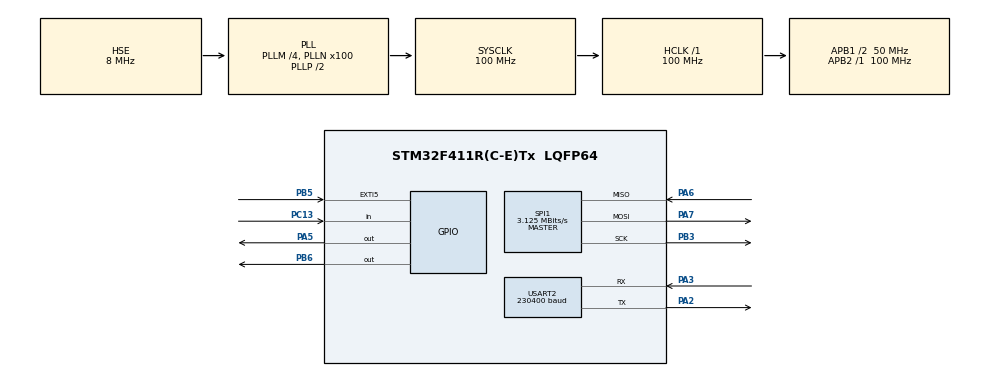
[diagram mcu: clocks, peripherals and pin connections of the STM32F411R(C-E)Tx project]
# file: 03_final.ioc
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Dma.Request0=USART2_TX
Dma.USART2_TX.0.Direction=DMA_MEMORY_TO_PERIPH
Dma.USART2_TX.0.FIFOMode=DMA_FIFOMODE_DISABLE
Dma.USART2_TX.0.Instance=DMA1_Stream6
Dma.USART2_TX.0.MemDataAlignment=DMA_MDATAALIGN_BYTE
Dma.USART2_TX.0.MemInc=DMA_MINC_ENABLE
Dma.USART2_TX.0.Mode=DMA_NORMAL
Dma.USART2_TX.0.PeriphDataAlignment=DMA_PDATAALIGN_BYTE
Dma.USART2_TX.0.PeriphInc=DMA_PINC_DISABLE
Dma.USART2_TX.0.Priority=DMA_PRIORITY_LOW
Mcu.Family=STM32F4
Mcu.Name=STM32F411R(C-E)Tx
Mcu.Package=LQFP64
NVIC.DMA1_Stream6_IRQn=true\:0\:0\:false\:false\:true\:false\:true\:true
NVIC.EXTI9_5_IRQn=true\:0\:0\:false\:false\:true\:true\:true\:true
NVIC.PriorityGroup=NVIC_PRIORITYGROUP_4
NVIC.USART2_IRQn=true\:0\:0\:false\:false\:true\:false\:true\:true
PA13.Mode=Serial_Wire
PA13.Signal=SYS_JTMS-SWDIO
PA14.Mode=Serial_Wire
PA14.Signal=SYS_JTCK-SWCLK
PA2.Mode=Asynchronous
PA2.Signal=USART2_TX
PA3.Mode=Asynchronous
PA3.Signal=USART2_RX
PA5.Signal=GPIO_Output
PA6.Mode=Full_Duplex_Master
PA6.Signal=SPI1_MISO
PA7.Mode=Full_Duplex_Master
PA7.Signal=SPI1_MOSI
PB3.Mode=Full_Duplex_Master
PB3.Signal=SPI1_SCK
PB5.GPIO_ModeDefaultEXTI=GPIO_MODE_IT_RISING
PB5.Signal=GPXTI5
PB6.PinState=GPIO_PIN_SET
PB6.Signal=GPIO_Output
PC13-ANTI_TAMP.Signal=GPIO_Input
PH0\ -\ OSC_IN.Mode=HSE-External-Clock-Source
PH0\ -\ OSC_IN.Signal=RCC_OSC_IN
PH1\ -\ OSC_OUT.Mode=HSE-External-Clock-Source
PH1\ -\ OSC_OUT.Signal=RCC_OSC_OUT
ProjectManager.HeapSize=0x200
ProjectManager.StackSize=0x400
ProjectManager.TargetToolchain=STM32CubeIDE
RCC.48MHZClocksFreq_Value=50000000
RCC.AHBFreq_Value=100000000
RCC.APB1CLKDivider=RCC_HCLK_DIV2
RCC.APB1Freq_Value=50000000
RCC.APB1TimFreq_Value=100000000
RCC.APB2Freq_Value=100000000
RCC.APB2TimFreq_Value=100000000
RCC.CortexFreq_Value=100000000
RCC.HCLKFreq_Value=100000000
RCC.HSE_VALUE=8000000
RCC.HSI_VALUE=16000000
RCC.LSE_VALUE=32768
RCC.PLLM=4
RCC.PLLN=100
RCC.PLLSourceVirtual=RCC_PLLSOURCE_HSE
RCC.SYSCLKFreq_VALUE=100000000
RCC.SYSCLKSource=RCC_SYSCLKSOURCE_PLLCLK
RCC.VCOOutputFreq_Value=200000000
SPI1.BaudRatePrescaler=SPI_BAUDRATEPRESCALER_32
SPI1.CLKPhase=SPI_PHASE_2EDGE
SPI1.CLKPolarity=SPI_POLARITY_HIGH
SPI1.CalculateBaudRate=3.125 MBits/s
SPI1.Direction=SPI_DIRECTION_2LINES
SPI1.Mode=SPI_MODE_MASTER
SPI1.VirtualType=VM_MASTER
TIM2.Prescaler=99
USART2.BaudRate=230400
USART2.VirtualMode=VM_ASYNC
VP_TIM2_VS_ClockSourceINT.Mode=Internal
board=custom

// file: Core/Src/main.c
/* USER CODE BEGIN Header */
/**
  ******************************************************************************
  * @file           : main.c
  * @brief          : Main program body
  ******************************************************************************
  * @attention
  *
  * Copyright (c) 2026 STMicroelectronics.
  * All rights reserved.
  *
  * This software is licensed under terms that can be found in the LICENSE file
  * in the root directory of this software component.
  * If no LICENSE file comes with this software, it is provided AS-IS.
  *
  ******************************************************************************
  */
/* USER CODE END Header */
#include "main.h"

/* USER CODE BEGIN PD */
#define SAMPLE_SIZE         6
#define SAMPLES_PER_BUFFER  512
// #define BUFFER_SIZE         (SAMPLE_SIZE * SAMPLES_PER_BUFFER)
#define BUFFER_SIZE 		512

#define ADXL_RANGE_2G   0x00
#define ADXL_RANGE_4G   0x01
#define ADXL_RANGE_8G   0x02
#define ADXL_RANGE_16G  0x03

#define ADXL_FULL_RES	(1 << 3)

#define ADXL_3200_HZ	0x0F
#define ADXL_1600_HZ	0x0E
#define ADXL_800_HZ		0x0D
#define ADXL_400_HZ 	0x0C

typedef enum
{
    BUF_FREE = 0,
    BUF_FILLING,
    BUF_READY,
    BUF_TX
} BufferState;

typedef struct
{
	uint32_t 	sample_time;
	uint8_t 	xyz[6];
	uint8_t 	reserved[2];
} Sample;

/* USER CODE END PD */

SPI_HandleTypeDef hspi1;

TIM_HandleTypeDef htim2;

UART_HandleTypeDef huart2;
DMA_HandleTypeDef hdma_usart2_tx;

/* USER CODE BEGIN PV */
volatile uint8_t 		start_stop = 0;
volatile uint32_t 		sample_count = 0; // testing fs
// volatile uint32_t 		start_time = 0; // testing fs
// volatile uint32_t 		stop_time = 0; // testing fs
volatile uint32_t 		dropped_buffer0 = 0;
volatile uint32_t 		dropped_buffer1 = 0;
volatile uint32_t 		tx0_complete = 0;
volatile uint32_t 		tx1_complete = 0;
uint8_t 				bw_rate_readback = 0;
volatile uint8_t 		exti_monitor;

Sample buffers[2][BUFFER_SIZE];

volatile BufferState 	buffer_state[2] = {BUF_FREE, BUF_FREE};

volatile uint8_t 		fill_buffer_id = 0;
volatile uint16_t 		fill_index = 0;

volatile uint8_t 		tx_buffer_id = 0;
volatile uint8_t 		tx_busy = 0;

volatile uint8_t 		acquiring = 0;
volatile uint8_t 		stopping = 0;

volatile uint8_t 		partial_buffer_id = 0;
volatile uint16_t 		partial_length = 0;
volatile uint8_t 		partial_pending = 0;

volatile uint32_t 		dropped_samples = 0;

volatile uint32_t 		sample_time = 0;

/* USER CODE END PV */

void SystemClock_Config(void);
static void MX_GPIO_Init(void);
static void MX_DMA_Init(void);
static void MX_SPI1_Init(void);
static void MX_USART2_UART_Init(void);
static void MX_TIM2_Init(void);

/* USER CODE BEGIN 0 */
void adxl_write (uint8_t Reg, uint8_t data)
{
	uint8_t writeBuf[2];
	writeBuf[0] = Reg | 0x40;	// multibyte write enabled
	writeBuf[1] = data;
	HAL_GPIO_WritePin (GPIOB, GPIO_PIN_6, GPIO_PIN_RESET); 	// pull the cs pin low to enable the slave
	HAL_SPI_Transmit(&hspi1, writeBuf, 2, 100);		// transmit the address and data
	HAL_GPIO_WritePin(GPIOB, GPIO_PIN_6, GPIO_PIN_SET);		// pull the cs pin high to disable slave
}

void adxl_read (uint8_t Reg, uint8_t *Buffer, size_t len)
{
	Reg |= 0x80;	// read operation
	Reg |= 0x40;	// multibyte read
	HAL_GPIO_WritePin (GPIOB, GPIO_PIN_6, GPIO_PIN_RESET); 	// pull the cs pin low to enable the slave
	HAL_SPI_Transmit(&hspi1, &Reg, 1, 100);		// send the address from where you want to read data
	HAL_SPI_Receive(&hspi1, Buffer, len, 100);	// read 6 bytes of data
	HAL_GPIO_WritePin(GPIOB, GPIO_PIN_6, GPIO_PIN_SET);		// pull the cs pin high to disable slave
}

void adxl_init(uint8_t range, uint8_t fs)
{
    uint8_t chipID = 0;
    adxl_read(0x00, &chipID, 1);

    if (chipID == 0xE5)
    {
        adxl_write(0x2D, 0x00);                 // standby
        adxl_write(0x2C, fs);
        adxl_write(0x31, ADXL_FULL_RES | range);

        adxl_write(0x2F, 0x00);                 // DATA_READY -> INT1
        adxl_write(0x2E, 0x00);                 // interrupt OFF for now

        adxl_write(0x2D, 0x08);                 // measurement mode
    }
}

void HAL_UART_TxCpltCallback(UART_HandleTypeDef *huart)
{
    if (huart->Instance == USART2)
    {
    	if (tx_buffer_id == 0)
    	            tx0_complete++;
    	        else
    	            tx1_complete++;

        buffer_state[tx_buffer_id] = BUF_FREE;
        tx_busy = 0;
    }
}

void HAL_GPIO_EXTI_Callback(uint16_t GPIO_Pin)
{
	sample_time = __HAL_TIM_GET_COUNTER(&htim2);

	if (GPIO_Pin != GPIO_PIN_5)
	{
		return;
	}

	uint8_t dummy[6];
	exti_monitor ^= 1;

	if (!acquiring)
	{
		// Clear DATA_READY if an interrupt slips through
		adxl_read(0x32, dummy, 6);
	    return;
	}

    /*
     * A buffer may just have become free after UART transmission.
     */
    if (buffer_state[fill_buffer_id] == BUF_FREE)
    {
        buffer_state[fill_buffer_id] = BUF_FILLING;
    }

    /*
     * If the next buffer is still being transmitted / waiting for TX,
     * UART has fallen behind.
     */
    if (buffer_state[fill_buffer_id] != BUF_FILLING)
    {
        adxl_read(0x32, dummy, 6);   // still clear DATA_READY
        dropped_samples++;
        if (fill_buffer_id == 0)
                dropped_buffer0++;
            else
                dropped_buffer1++;
        return;
    }

    /*
     * THIS is the one and only normal ADXL data read.
     */
    buffers[fill_buffer_id][fill_index].sample_time = sample_time;

    adxl_read(
        0x32,
        buffers[fill_buffer_id][fill_index].xyz,
        SAMPLE_SIZE
    );
    sample_count++;	// testing fs
    fill_index++;

    if (fill_index >= BUFFER_SIZE)
    {
        buffer_state[fill_buffer_id] = BUF_READY;

        fill_buffer_id ^= 1;     // 0 -> 1, 1 -> 0
        fill_index = 0;

        if (buffer_state[fill_buffer_id] == BUF_FREE)
        {
            buffer_state[fill_buffer_id] = BUF_FILLING;
        }
    }
    return;
}

void service_uart(void)
{
    if (tx_busy)
        return;

    /* First priority: transmit complete READY buffers */
    for (uint8_t i = 0; i < 2; i++)
    {
        if (buffer_state[i] == BUF_READY)
        {
            tx_buffer_id = i;
            tx_busy = 1;
            buffer_state[i] = BUF_TX;

            if (HAL_UART_Transmit_DMA(&huart2,
            						  (const uint8_t *)buffers[i],
									  sizeof(buffers[i])) != HAL_OK)
            {
                buffer_state[i] = BUF_READY;
                tx_busy = 0;
            }

            return;
        }
    }

    /* Then transmit the final partial buffer */
    if (stopping && partial_pending)
    {
        tx_buffer_id = partial_buffer_id;
        tx_busy = 1;
        partial_pending = 0;

        buffer_state[tx_buffer_id] = BUF_TX;

        if (HAL_UART_Transmit_DMA(&huart2,
        						  (const uint8_t *)buffers[tx_buffer_id],
                                  partial_length) != HAL_OK)
        {
            buffer_state[tx_buffer_id] = BUF_FILLING;
            partial_pending = 1;
            tx_busy = 0;
        }

        return;
    }
}

void service_stop(void)
{
    if (!stopping)
        return;

    if (tx_busy)
        return;

    if (buffer_state[0] == BUF_READY ||
        buffer_state[1] == BUF_READY)
        return;

    if (partial_pending)
        return;

    uint8_t stop_msg[] = {
        0xAA, 0x55, 0xAA, 0x55,
        0xAA, 0x55, 0xAA, 0x55
    };

    HAL_UART_Transmit(&huart2,
                      stop_msg,
                      sizeof(stop_msg),
                      HAL_MAX_DELAY);

    buffer_state[0] = BUF_FREE;
    buffer_state[1] = BUF_FREE;

    stopping = 0;

}

void start_program(void)
{
    uint8_t dummy[6];
    sample_count = 0;
    dropped_buffer0 = 0;
    dropped_buffer1 = 0;
    tx0_complete = 0;
    tx1_complete = 0;

    __HAL_TIM_SET_COUNTER(&htim2, 0);
    sample_time = __HAL_TIM_GET_COUNTER(&htim2);

    HAL_NVIC_DisableIRQ(EXTI9_5_IRQn);

    // Clear stale DATA_READY
    adxl_read(0x32, dummy, 6);
    __HAL_GPIO_EXTI_CLEAR_IT(GPIO_PIN_5);

    buffer_state[0] = BUF_FILLING;
    buffer_state[1] = BUF_FREE;

    fill_buffer_id = 0;
    fill_index = 0;

    tx_busy = 0;
    dropped_samples = 0;

    acquiring = 1;

    // adxl_write(0x2E, 0x80);        // enable DATA_READY

    // HAL_NVIC_EnableIRQ(EXTI9_5_IRQn);
    // start_time = HAL_GetTick();
    HAL_TIM_Base_Start(&htim2);
    adxl_write(0x2E, 0x80);        // enable DATA_READY
    HAL_NVIC_EnableIRQ(EXTI9_5_IRQn);
}

void stop_program(void)
{
    uint8_t dummy[6];

    // stop_time = HAL_GetTick();
    HAL_TIM_Base_Stop(&htim2);

    /* Stop NEW samples first */
    HAL_NVIC_DisableIRQ(EXTI9_5_IRQn);
    acquiring = 0;

    adxl_write(0x2E, 0x00);      // disable DATA_READY
    adxl_read(0x32, dummy, 6);   // clear DATA_READY
    __HAL_GPIO_EXTI_CLEAR_IT(GPIO_PIN_5);

    /* Remember valid part of current filling buffer */
    partial_buffer_id = fill_buffer_id;
    partial_length = fill_index * sizeof(Sample);

    if (partial_length > 0)
        partial_pending = 1;
    else
        partial_pending = 0;

    /*
     * DO NOT:
     * HAL_UART_DMAStop()
     * reset buffer states
     * send STOP marker yet
     */

    stopping = 1;
}

/* USER CODE END 0 */

int main(void)
{

  /* MCU Configuration--------------------------------------------------------*/

  /* Reset of all peripherals, Initializes the Flash interface and the Systick. */
  HAL_Init();

  /* Configure the system clock */
  SystemClock_Config();

  /* Initialize all configured peripherals */
  MX_GPIO_Init();
  MX_DMA_Init();
  MX_SPI1_Init();
  MX_USART2_UART_Init();
  MX_TIM2_Init();
  /* USER CODE BEGIN 2 */
  adxl_init(ADXL_RANGE_4G, ADXL_1600_HZ);
  adxl_read(0x2C, &bw_rate_readback, 1);
  HAL_NVIC_DisableIRQ(EXTI9_5_IRQn);

  /* USER CODE END 2 */

  /* Infinite loop */
  while (1)
  {

    /* USER CODE BEGIN 3 */
	  if (!HAL_GPIO_ReadPin(GPIOC, GPIO_PIN_13))
	  {
	      start_stop ^= 1;

	      if (start_stop == 1)
	          start_program();
	      else
	          stop_program();

	      HAL_Delay(20);  // simple debounce

	      while (!HAL_GPIO_ReadPin(GPIOC, GPIO_PIN_13))
	      {
	          // wait until button is released
	      }

	      HAL_Delay(20);  // debounce release
	  }

	  if (acquiring || stopping)
	      service_uart();

	  if (stopping)
	      service_stop();

  }
  /* USER CODE END 3 */
}

void SystemClock_Config(void)
{
  RCC_OscInitTypeDef RCC_OscInitStruct = {0};
  RCC_ClkInitTypeDef RCC_ClkInitStruct = {0};

  /** Configure the main internal regulator output voltage
  */
  __HAL_RCC_PWR_CLK_ENABLE();
  __HAL_PWR_VOLTAGESCALING_CONFIG(PWR_REGULATOR_VOLTAGE_SCALE1);

  /** Initializes the RCC Oscillators according to the specified parameters
  * in the RCC_OscInitTypeDef structure.
  */
  RCC_OscInitStruct.OscillatorType = RCC_OSCILLATORTYPE_HSE;
  RCC_OscInitStruct.HSEState = RCC_HSE_BYPASS;
  RCC_OscInitStruct.PLL.PLLState = RCC_PLL_ON;
  RCC_OscInitStruct.PLL.PLLSource = RCC_PLLSOURCE_HSE;
  RCC_OscInitStruct.PLL.PLLM = 4;
  RCC_OscInitStruct.PLL.PLLN = 100;
  RCC_OscInitStruct.PLL.PLLP = RCC_PLLP_DIV2;
  RCC_OscInitStruct.PLL.PLLQ = 4;
  if (HAL_RCC_OscConfig(&RCC_OscInitStruct) != HAL_OK)
  {
    Error_Handler();
  }

  /** Initializes the CPU, AHB and APB buses clocks
  */
  RCC_ClkInitStruct.ClockType = RCC_CLOCKTYPE_HCLK|RCC_CLOCKTYPE_SYSCLK
                              |RCC_CLOCKTYPE_PCLK1|RCC_CLOCKTYPE_PCLK2;
  RCC_ClkInitStruct.SYSCLKSource = RCC_SYSCLKSOURCE_PLLCLK;
  RCC_ClkInitStruct.AHBCLKDivider = RCC_SYSCLK_DIV1;
  RCC_ClkInitStruct.APB1CLKDivider = RCC_HCLK_DIV2;
  RCC_ClkInitStruct.APB2CLKDivider = RCC_HCLK_DIV1;

  if (HAL_RCC_ClockConfig(&RCC_ClkInitStruct, FLASH_LATENCY_3) != HAL_OK)
  {
    Error_Handler();
  }
}

static void MX_SPI1_Init(void)
{

  /* SPI1 parameter configuration*/
  hspi1.Instance = SPI1;
  hspi1.Init.Mode = SPI_MODE_MASTER;
  hspi1.Init.Direction = SPI_DIRECTION_2LINES;
  hspi1.Init.DataSize = SPI_DATASIZE_8BIT;
  hspi1.Init.CLKPolarity = SPI_POLARITY_HIGH;
  hspi1.Init.CLKPhase = SPI_PHASE_2EDGE;
  hspi1.Init.NSS = SPI_NSS_SOFT;
  hspi1.Init.BaudRatePrescaler = SPI_BAUDRATEPRESCALER_32;
  hspi1.Init.FirstBit = SPI_FIRSTBIT_MSB;
  hspi1.Init.TIMode = SPI_TIMODE_DISABLE;
  hspi1.Init.CRCCalculation = SPI_CRCCALCULATION_DISABLE;
  hspi1.Init.CRCPolynomial = 10;
  if (HAL_SPI_Init(&hspi1) != HAL_OK)
  {
    Error_Handler();
  }

}

static void MX_TIM2_Init(void)
{

  TIM_ClockConfigTypeDef sClockSourceConfig = {0};
  TIM_MasterConfigTypeDef sMasterConfig = {0};

  htim2.Instance = TIM2;
  htim2.Init.Prescaler = 99;
  htim2.Init.CounterMode = TIM_COUNTERMODE_UP;
  htim2.Init.Period = 4294967295;
  htim2.Init.ClockDivision = TIM_CLOCKDIVISION_DIV1;
  htim2.Init.AutoReloadPreload = TIM_AUTORELOAD_PRELOAD_DISABLE;
  if (HAL_TIM_Base_Init(&htim2) != HAL_OK)
  {
    Error_Handler();
  }
  sClockSourceConfig.ClockSource = TIM_CLOCKSOURCE_INTERNAL;
  if (HAL_TIM_ConfigClockSource(&htim2, &sClockSourceConfig) != HAL_OK)
  {
    Error_Handler();
  }
  sMasterConfig.MasterOutputTrigger = TIM_TRGO_RESET;
  sMasterConfig.MasterSlaveMode = TIM_MASTERSLAVEMODE_DISABLE;
  if (HAL_TIMEx_MasterConfigSynchronization(&htim2, &sMasterConfig) != HAL_OK)
  {
    Error_Handler();
  }

}

static void MX_USART2_UART_Init(void)
{

  huart2.Instance = USART2;
  huart2.Init.BaudRate = 230400;
  huart2.Init.WordLength = UART_WORDLENGTH_8B;
  huart2.Init.StopBits = UART_STOPBITS_1;
  huart2.Init.Parity = UART_PARITY_NONE;
  huart2.Init.Mode = UART_MODE_TX_RX;
  huart2.Init.HwFlowCtl = UART_HWCONTROL_NONE;
  huart2.Init.OverSampling = UART_OVERSAMPLING_16;
  if (HAL_UART_Init(&huart2) != HAL_OK)
  {
    Error_Handler();
  }

}

static void MX_DMA_Init(void)
{

  /* DMA controller clock enable */
  __HAL_RCC_DMA1_CLK_ENABLE();

  /* DMA interrupt init */
  /* DMA1_Stream6_IRQn interrupt configuration */
  HAL_NVIC_SetPriority(DMA1_Stream6_IRQn, 0, 0);
  HAL_NVIC_EnableIRQ(DMA1_Stream6_IRQn);

}

static void MX_GPIO_Init(void)
{
  GPIO_InitTypeDef GPIO_InitStruct = {0};

  /* GPIO Ports Clock Enable */
  __HAL_RCC_GPIOC_CLK_ENABLE();
  __HAL_RCC_GPIOH_CLK_ENABLE();
  __HAL_RCC_GPIOA_CLK_ENABLE();
  __HAL_RCC_GPIOB_CLK_ENABLE();

  /*Configure GPIO pin Output Level */
  HAL_GPIO_WritePin(GPIOA, GPIO_PIN_5, GPIO_PIN_RESET);

  /*Configure GPIO pin Output Level */
  HAL_GPIO_WritePin(GPIOB, GPIO_PIN_6, GPIO_PIN_SET);

  /*Configure GPIO pin : PC13 */
  GPIO_InitStruct.Pin = GPIO_PIN_13;
  GPIO_InitStruct.Mode = GPIO_MODE_INPUT;
  GPIO_InitStruct.Pull = GPIO_NOPULL;
  HAL_GPIO_Init(GPIOC, &GPIO_InitStruct);

  /*Configure GPIO pin : PA5 */
  GPIO_InitStruct.Pin = GPIO_PIN_5;
  GPIO_InitStruct.Mode = GPIO_MODE_OUTPUT_PP;
  GPIO_InitStruct.Pull = GPIO_NOPULL;
  GPIO_InitStruct.Speed = GPIO_SPEED_FREQ_LOW;
  HAL_GPIO_Init(GPIOA, &GPIO_InitStruct);

  /*Configure GPIO pin : PB5 */
  GPIO_InitStruct.Pin = GPIO_PIN_5;
  GPIO_InitStruct.Mode = GPIO_MODE_IT_RISING;
  GPIO_InitStruct.Pull = GPIO_NOPULL;
  HAL_GPIO_Init(GPIOB, &GPIO_InitStruct);

  /*Configure GPIO pin : PB6 */
  GPIO_InitStruct.Pin = GPIO_PIN_6;
  GPIO_InitStruct.Mode = GPIO_MODE_OUTPUT_PP;
  GPIO_InitStruct.Pull = GPIO_NOPULL;
  GPIO_InitStruct.Speed = GPIO_SPEED_FREQ_LOW;
  HAL_GPIO_Init(GPIOB, &GPIO_InitStruct);

  /* EXTI interrupt init*/
  HAL_NVIC_SetPriority(EXTI9_5_IRQn, 0, 0);
  HAL_NVIC_EnableIRQ(EXTI9_5_IRQn);

}

void Error_Handler(void)
{
  __disable_irq();
  while (1)
  {
  }
}
